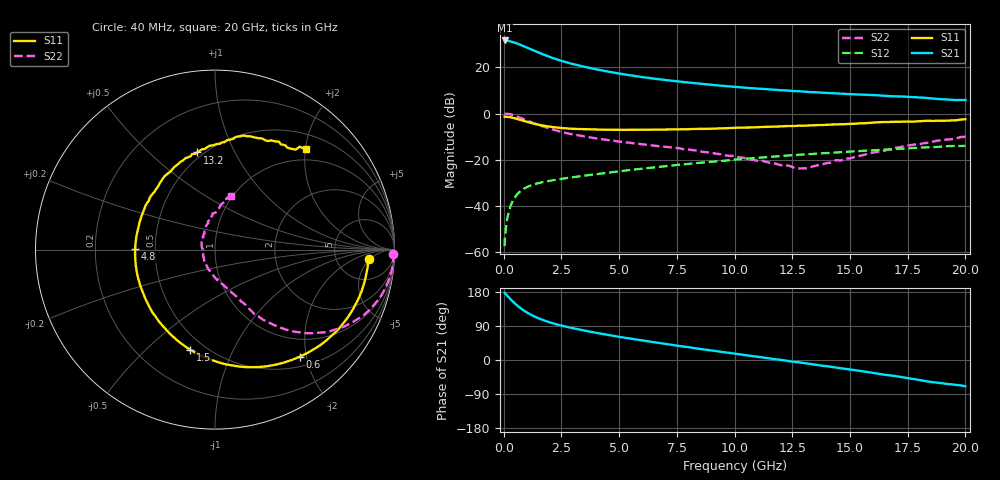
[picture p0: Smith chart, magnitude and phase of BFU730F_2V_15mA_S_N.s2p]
! Filename:  P:\Prog\Test\Noise\ATS_data\Testdata_Net\BFU730\BFU730_2W_B1_2V15mA_D.s2p
! Date/Time: Fri 29/Apr/2011 14:14:18
! BFU730_2W_B1_2V15mA
! bias mode 1: Vout= 2.0000 V, Iout=15.0000 mA, Vin= 0.8104 V, Iin= 0.0500 mA
! Date/time Thu Mar 17 11:16:37 2011
! Device data file deembeded for feedlines and parallel
! Original file: \BFU730\BFU730_2W_B1_2V15mA_R.s2p
! Feed-files: PR003V01_101208_Feed1.s2p, PR003V01_101208_Feed2.s2p
! Parallel-file: PR003V01_101208_Par.s2p
# MHz S MA R 50
!  Freq-MHz  S11-mag  S11-arg  S21-mag  S21-arg  S12-mag  S12-arg  S22-mag  S22-arg
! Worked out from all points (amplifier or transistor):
!   167 points, 40 MHz to 20 GHz, reference 50 ohm
!   highest |S21| = 31.7 dB at 50 MHz (marker M1)
!   |S21| within 3 dB of that: start of sweep to 979.9 MHz
!   unconditionally stable (mu >= 1): 4.942 GHz to 15.8 GHz
!   at 550 MHz: K = 0.16, MSG = 33.0 dB, |S12| = -35.4 dB
!   at 4.2 GHz: K = 0.94, MSG = 22.4 dB, |S12| = -26.0 dB
!   at 20 GHz: K = 0.86, MSG = 9.9 dB, |S12| = -14.0 dB
!   lowest NFmin = 0.70 dB at 400 MHz
!   S11 on the Smith chart (normalised r, x): 40 MHz: 11, -4; 600 MHz: 0.66, -1.88; 1.5 GHz: 0.42, -0.69; 4.8 GHz: 0.38, +0.00; 13.2 GHz: 0.46, +0.72; 20 GHz: 0.77, +2.01
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40  0.8569 -3.6  38.42 177.3  0.001334 86.8  0.9935 -1.3
50  0.8589 -4.8  38.51 176.2  0.001946 97.8  0.9933 -2.0
70  0.8564 -6.2  38.17 175.4  0.002374 86.7  0.9956 -3.1
240  0.8397 -21.6  37.45 164.0  0.008027 79.9  0.9748 -12.2
340  0.8234 -30.4  36.27 157.7  0.01117 75.6  0.9505 -17.2
460  0.7965 -40.6  34.92 150.7  0.01465 70.6  0.913 -22.7
600  0.7607 -51.7  32.94 143.1  0.01815 65.5  0.8607 -28.5
800  0.7114 -66.0  29.91 133.7  0.02224 59.4  0.7859 -35.3
1050  0.6528 -81.5  26.3 123.9  0.02613 53.7  0.6968 -41.9
1250  0.6137 -92.3  23.78 117.3  0.02859 50.4  0.6356 -46.0
1500  0.5738 -104.0  21.09 110.3  0.03105 47.5  0.5703 -49.9
1850  0.5329 -117.8  18.01 102.2  0.03388 44.7  0.4984 -54.0
2250  0.501 -130.6  15.28 94.7  0.03676 43.0  0.4363 -57.5
2800  0.4741 -144.9  12.6 86.5  0.04043 41.6  0.3694 -60.3
3400  0.4584 -157.5  10.61 78.8  0.04441 40.9  0.3264 -63.0
4800  0.4456 179.5  7.686 63.2  0.05465 39.1  0.256 -68.9
6800  0.4499 155.4  5.496 44.4  0.07053 34.8  0.1947 -78.4
10200  0.4961 124.3  3.745 15.1  0.1023 22.8  0.1124 -110.1
13200  0.5507 100.5  2.941 -9.8  0.1315 8.2  0.06498 -179.9
13400  0.5554 99.2  2.917 -11.6  0.1342 7.0  0.07195 175.5
16800  0.6612 72.6  2.379 -41.0  0.1679 -12.0  0.1691 99.3
20000  0.7544 47.8  1.965 -69.4  0.2003 -33.0  0.3137 73.2
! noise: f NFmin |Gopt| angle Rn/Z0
400  0.6991  0.21  359.3  0.1121
850  0.7122  0.185  11.13  0.1127
1450  0.7308  0.1628  28.1  0.1121
2100  0.7524  0.1496  46.52  0.11
2900  0.781  0.1422  67.62  0.1058
4200  0.8322  0.136  98.68  0.0971
5800  0.9035  0.1345  138  0.0867
8400  1.038  0.1938  198.1  0.0834
1.2e+04  1.264  0.3652  243.1  0.1443
1.8e+04  1.743  0.6439  308.1  0.5664
